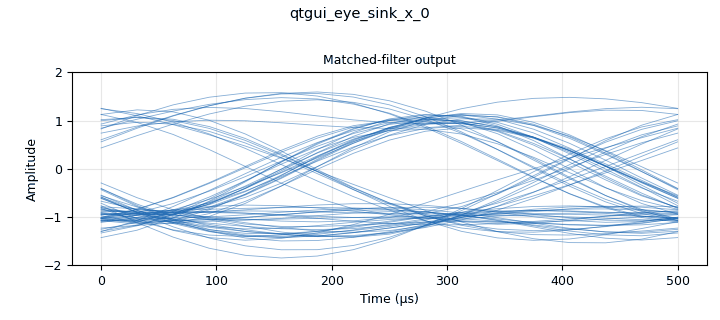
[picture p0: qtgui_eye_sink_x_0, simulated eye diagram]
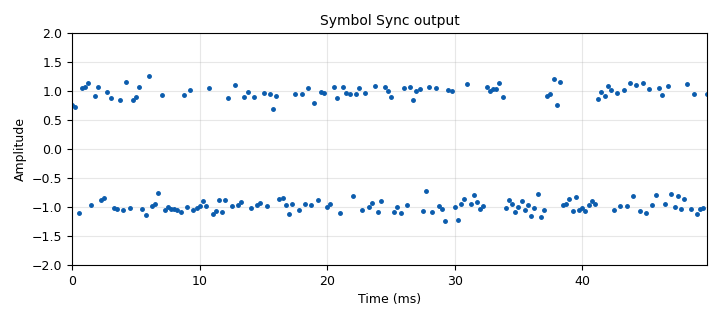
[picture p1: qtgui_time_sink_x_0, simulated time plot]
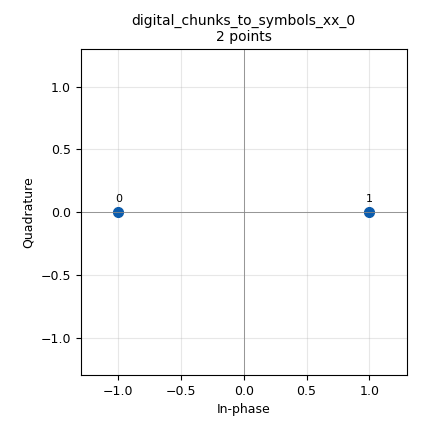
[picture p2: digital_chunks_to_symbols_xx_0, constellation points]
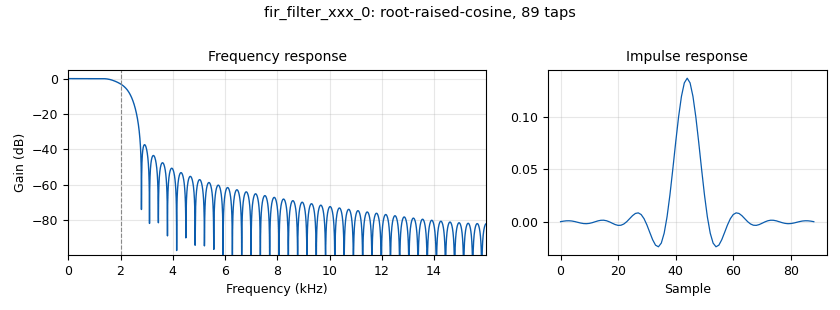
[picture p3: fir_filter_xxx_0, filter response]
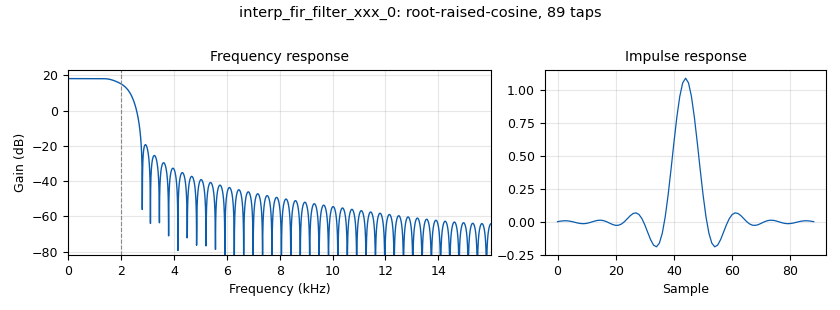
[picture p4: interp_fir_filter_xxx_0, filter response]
options:
  parameters:
    author: ECE 448
    description: 'L10: a line of ASCII text in packets over an RRC 2-PAM link, through noise and a receiver clock error, then a matched filter that can be switched off, Symbol Sync, a slicer, and an access-code search. Raise the noise or the clock error until the text breaks.'
    generate_options: qt_gui
    id: L10_pam_link
    output_language: python
    title: L10 - PAM Text Link
  states: {}

blocks:
- name: alpha
  id: variable
  parameters:
    value: '0.35'
  states: {}
- name: hdr
  id: variable
  parameters:
    value: digital.header_format_default(digital.packet_utils.default_access_code, 0)
  states: {}
- name: mf
  id: variable_qtgui_chooser
  parameters:
    gui_hint: 1,0,1,2
    label: Matched filter
    label0: 'on'
    label1: 'off'
    num_opts: '2'
    option0: '1'
    option1: '0'
    orient: Qt.QHBoxLayout
    type: int
    value: '1'
    widget: radio_buttons
  states: {}
- name: msg
  id: variable
  parameters:
    value: '''USAFA ECE 448: ASCII over PAM.'''
  states: {}
- name: noise
  id: variable_qtgui_range
  parameters:
    gui_hint: 0,0,1,1
    label: Noise amplitude
    start: '0'
    step: '0.05'
    stop: '2'
    value: '0.3'
  states: {}
- name: ppm
  id: variable_qtgui_range
  parameters:
    gui_hint: 0,1,1,1
    label: Clock error (ppm)
    start: '0'
    step: '500'
    stop: '50000'
    value: '500'
  states: {}
- name: rx_label
  id: variable_qtgui_label
  parameters:
    formatter: 'lambda x: '':  '' + x'
    gui_hint: 3,0,1,2
    label: Received
    type: string
    value: rx_text
  states: {}
- name: rx_stats
  id: variable_function_probe
  parameters:
    block_id: epy_block_0
    function_name: stats
    poll_rate: '4'
    value: ''''''
  states: {}
- name: rx_taps
  id: variable
  parameters:
    value: firdes.root_raised_cosine(1.0, samp_rate, samp_rate/sps, alpha, 11*sps)
  states: {}
- name: rx_text
  id: variable_function_probe
  parameters:
    block_id: epy_block_0
    function_name: last_line
    poll_rate: '4'
    value: '''(waiting for a packet)'''
  states: {}
- name: samp_rate
  id: variable
  parameters:
    value: '32000'
  states: {}
- name: sps
  id: variable
  parameters:
    value: '8'
  states: {}
- name: stats_label
  id: variable_qtgui_label
  parameters:
    formatter: 'lambda x: '':  '' + x'
    gui_hint: 4,0,1,2
    label: Lines
    type: string
    value: rx_stats
  states: {}
- name: tx_taps
  id: variable
  parameters:
    value: firdes.root_raised_cosine(sps, samp_rate, samp_rate/sps, alpha, 11*sps)
  states: {}
- name: analog_noise_source_x_0
  id: analog_noise_source_x
  parameters:
    amp: noise
    noise_type: analog.GR_GAUSSIAN
    seed: '0'
    type: float
  states: {}
- name: blocks_add_xx_0
  id: blocks_add_xx
  parameters:
    type: float
  states: {}
- name: blocks_repack_bits_bb_0
  id: blocks_repack_bits_bb
  parameters:
    endianness: gr.GR_MSB_FIRST
    k: '1'
    l: '8'
    len_tag_key: '"packet_len"'
  states: {}
- name: blocks_stream_to_tagged_stream_0
  id: blocks_stream_to_tagged_stream
  parameters:
    len_tag_key: '"packet_len"'
    packet_len: len(msg) + 1
    type: byte
  states: {}
- name: blocks_tagged_stream_mux_0
  id: blocks_tagged_stream_mux
  parameters:
    lengthtagname: '"packet_len"'
    ninputs: '2'
    type: byte
  states: {}
- name: blocks_throttle2_0
  id: blocks_throttle2
  parameters:
    samples_per_second: samp_rate/sps
    type: float
  states: {}
- name: blocks_unpack_k_bits_bb_0
  id: blocks_unpack_k_bits_bb
  parameters:
    k: '8'
  states: {}
- name: blocks_vector_source_x_0
  id: blocks_vector_source_x
  parameters:
    repeat: 'True'
    type: byte
    vector: list(msg.encode()) + [10]
  states: {}
- name: digital_binary_slicer_fb_0
  id: digital_binary_slicer_fb
  parameters: {}
  states: {}
- name: digital_chunks_to_symbols_xx_0
  id: digital_chunks_to_symbols_xx
  parameters:
    dimension: '1'
    in_type: byte
    out_type: float
    symbol_table: '[-1, 1]'
  states: {}
- name: digital_correlate_access_code_xx_ts_0
  id: digital_correlate_access_code_xx_ts
  parameters:
    access_code: digital.packet_utils.default_access_code
    tagname: '"packet_len"'
    threshold: '2'
    type: byte
  states: {}
- name: digital_protocol_formatter_bb_0
  id: digital_protocol_formatter_bb
  parameters:
    format: hdr
    len_tag_key: '"packet_len"'
  states: {}
- name: digital_symbol_sync_xx_0
  id: digital_symbol_sync_xx
  parameters:
    damping: '1.0'
    loop_bw: '0.045'
    max_dev: '1.5'
    osps: '1'
    resamp_type: digital.IR_MMSE_8TAP
    sps: sps
    ted_gain: '1.0'
    ted_type: digital.TED_GARDNER
    type: ff
  states: {}
- name: epy_block_0
  id: epy_block
  parameters:
    _source_code: |
      """Text Sink: shows each received packet as a line of text and counts the
      lines that match the transmitted message. The counts restart whenever a
      slider moves, because GRC sets `settings` each time one of
      the settings it names changes.
      Function Probes read last_line() and stats() for the QT GUI Labels."""

      import time

      import numpy as np
      import pmt
      from gnuradio import gr


      class blk(gr.sync_block):
          def __init__(self, expected='', settings=None):
              gr.sync_block.__init__(self, name='Text Sink', in_sig=[np.uint8], out_sig=None)
              self.expected = expected
              self.key = pmt.intern('packet_len')
              self.buf = ''
              self.line = '(waiting for a packet)'
              self.settings = settings

          @property
          def settings(self):
              return self._settings

          @settings.setter
          def settings(self, value):
              self._settings = value
              self.good = 0
              self.total = 0
              self.t0 = time.monotonic()

          def work(self, input_items, output_items):
              data = input_items[0]
              start = self.nitems_read(0)
              # Each packet starts with a packet_len tag, so a corrupted newline
              # cannot run two packets together.
              marks = {t.offset - start for t in self.get_tags_in_window(0, 0, len(data), self.key)}
              for i, b in enumerate(data):
                  if i in marks and self.buf:
                      self.finish()
                  self.buf += chr(b) if 32 <= b < 127 or b == 10 else '?'
              return len(data)

          def finish(self):
              self.line = self.buf[:-1] if self.buf.endswith('\n') else self.buf
              self.total += 1
              self.good += self.buf == self.expected + '\n'
              self.buf = ''

          def last_line(self):
              return self.line

          def stats(self):
              return f'{self.good} correct of {self.total} received in {time.monotonic() - self.t0:.0f} s'
    expected: msg
    settings: (noise, ppm, mf)
  states: {}
- name: fir_filter_xxx_0
  id: fir_filter_xxx
  parameters:
    comment: Matched filter
    decim: '1'
    taps: rx_taps if mf else [1.0]
    type: fff
  states: {}
- name: interp_fir_filter_xxx_0
  id: interp_fir_filter_xxx
  parameters:
    comment: Transmitter
    interp: sps
    taps: tx_taps
    type: fff
  states: {}
- name: mmse_resampler_xx_0
  id: mmse_resampler_xx
  parameters:
    comment: Channel
    phase_shift: '0'
    resamp_ratio: 1 + ppm*1e-6
    type: float
  states: {}
- name: qtgui_eye_sink_x_0
  id: qtgui_eye_sink_x
  parameters:
    entags: 'False'
    grid: 'True'
    gui_hint: 2,0,1,1
    label1: Matched-filter output
    legend: 'False'
    samp_per_symbol: sps
    size: '1024'
    srate: samp_rate
    type: float
    update_time: '0.1'
    ymax: '2'
    ymin: '-2'
  states: {}
- name: qtgui_time_sink_x_0
  id: qtgui_time_sink_x
  parameters:
    entags: 'False'
    grid: 'True'
    gui_hint: 2,1,1,1
    label1: Symbols
    legend: 'False'
    marker1: '0'
    name: '"Symbol Sync output"'
    size: '200'
    srate: samp_rate/sps
    style1: '0'
    type: float
    update_time: '0.1'
    ymax: '2'
    ymin: '-2'
  states: {}

connections:
- [analog_noise_source_x_0, '0', blocks_add_xx_0, '1']
- [blocks_add_xx_0, '0', fir_filter_xxx_0, '0']
- [blocks_repack_bits_bb_0, '0', epy_block_0, '0']
- [blocks_stream_to_tagged_stream_0, '0', blocks_tagged_stream_mux_0, '1']
- [blocks_stream_to_tagged_stream_0, '0', digital_protocol_formatter_bb_0, '0']
- [blocks_tagged_stream_mux_0, '0', blocks_unpack_k_bits_bb_0, '0']
- [blocks_throttle2_0, '0', interp_fir_filter_xxx_0, '0']
- [blocks_unpack_k_bits_bb_0, '0', digital_chunks_to_symbols_xx_0, '0']
- [blocks_vector_source_x_0, '0', blocks_stream_to_tagged_stream_0, '0']
- [digital_binary_slicer_fb_0, '0', digital_correlate_access_code_xx_ts_0, '0']
- [digital_chunks_to_symbols_xx_0, '0', blocks_throttle2_0, '0']
- [digital_correlate_access_code_xx_ts_0, '0', blocks_repack_bits_bb_0, '0']
- [digital_protocol_formatter_bb_0, '0', blocks_tagged_stream_mux_0, '0']
- [digital_symbol_sync_xx_0, '0', digital_binary_slicer_fb_0, '0']
- [digital_symbol_sync_xx_0, '0', qtgui_time_sink_x_0, '0']
- [fir_filter_xxx_0, '0', digital_symbol_sync_xx_0, '0']
- [fir_filter_xxx_0, '0', qtgui_eye_sink_x_0, '0']
- [interp_fir_filter_xxx_0, '0', mmse_resampler_xx_0, '0']
- [mmse_resampler_xx_0, '0', blocks_add_xx_0, '0']

metadata:
  file_format: 1
  grc_version: 3.10.9.2
